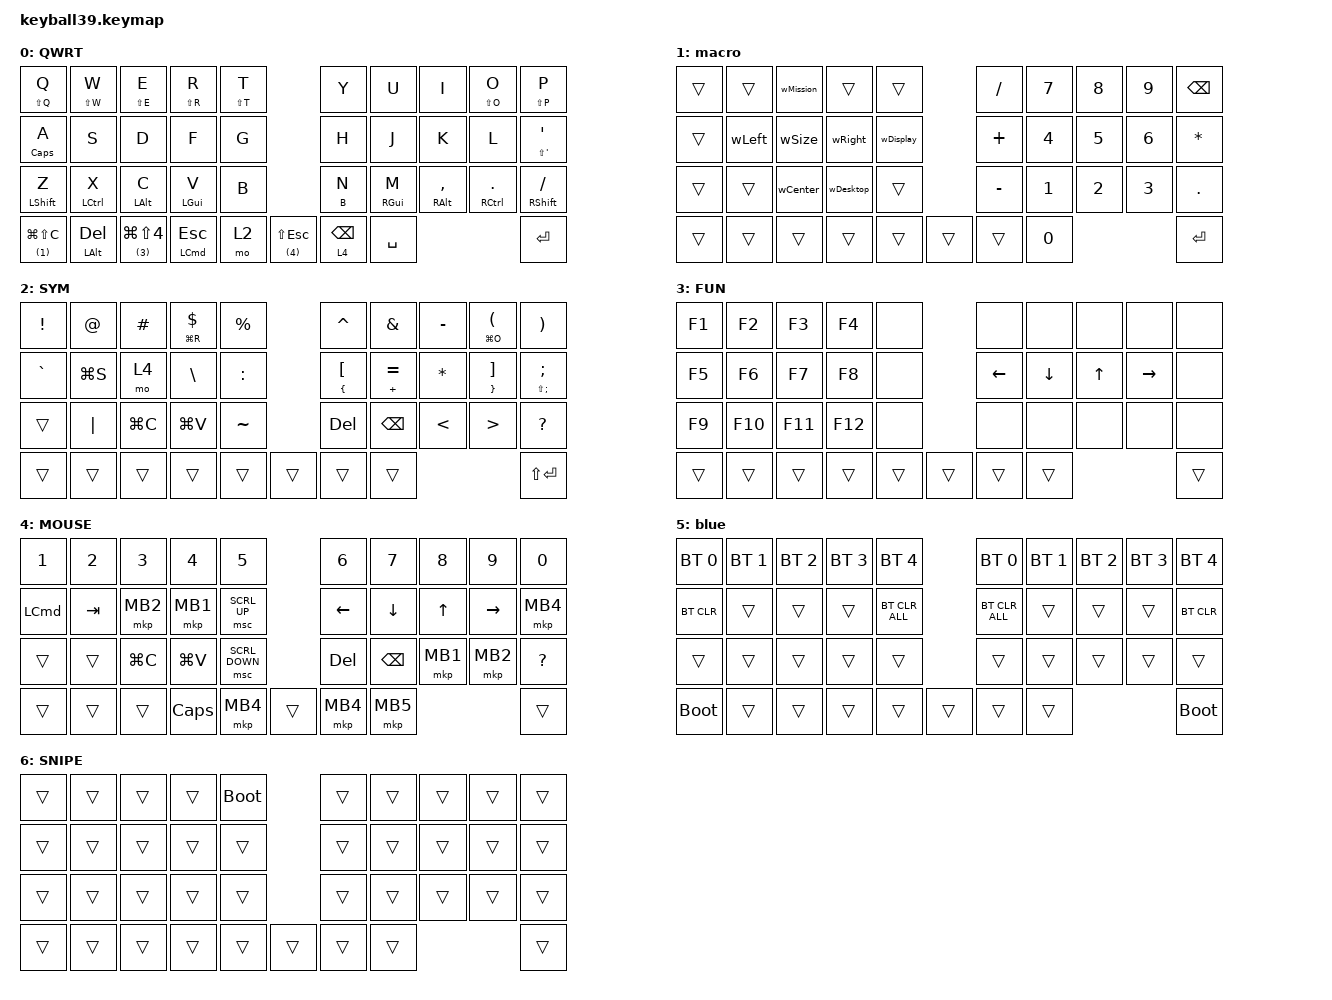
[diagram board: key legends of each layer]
#define DEFAULT 0
#define NUM     1
#define SYM     2
#define FUN     3
#define MOUSE   4
#define SCROLL  5
#define SNIPE   6

#include <behaviors/mouse_keys.dtsi>
#include <dt-bindings/zmk/mouse.h>
#include <behaviors.dtsi>
#include <dt-bindings/zmk/bt.h>
#include <dt-bindings/zmk/keys.h>
#include <dt-bindings/zmk/pointing.h>

&lt {
    tapping-term-ms = <200>;
    flavor = "tap-preferred";
    quick-tap-ms = <150>;
    require-prior-idle-ms = <150>;
};

&mt {
    tapping-term-ms = <175>;
    flavor = "tap-preferred";
    require-prior-idle-ms = <150>;
};

/ {
    // custom shift using mod-morph 

    behaviors {
        cmqus: comma_question {
            compatible = "zmk,behavior-mod-morph";
            label = "COMMA_QUESTION";
            #binding-cells = <0>;
            bindings = <&kp COMMA>, <&kp QUESTION>;

            mods = <(MOD_LSFT|MOD_RSFT)>;
        };

        dtsmi: dot_semi {
            compatible = "zmk,behavior-mod-morph";
            label = "DOT_SEMI";
            #binding-cells = <0>;
            bindings = <&kp DOT>, <&kp SEMI>;

            mods = <(MOD_LSFT|MOD_RSFT)>;
        };

        hmLeft: hmLeft {
            compatible = "zmk,behavior-hold-tap";
            label = "HMLEFT";
            bindings = <&kp>, <&kp>;

            #binding-cells = <2>;
            tapping-term-ms = <200>;
            quick-tap-ms = <150>;
            require-prior-idle-ms = <150>;
            flavor = "tap-preferred";
            hold-trigger-key-positions = <5 6 7 8 9 15 16 17 18 19 25 26 27 28 29 36 37 38>;
        };

        hmRight: hmRight {
            compatible = "zmk,behavior-hold-tap";
            label = "HMRIGHT";
            bindings = <&kp>, <&kp>;

            #binding-cells = <2>;
            tapping-term-ms = <200>;
            quick-tap-ms = <150>;
            require-prior-idle-ms = <150>;
            flavor = "tap-preferred";
            hold-trigger-key-positions = <0 1 2 3 4 10 11 12 13 14 20 21 22 23 24 30 31 32 33 34 35>;
        };

        // auto shift: 짧게 누르면 기본 자모, 길게 누르면 Shift 조합(쌍자음 ㅃㅉㄸㄲㅆ, 모음 ㅒㅖ)

        as: auto_shift {
            compatible = "zmk,behavior-hold-tap";
            label = "AUTO_SHIFT";
            bindings = <&kp>, <&kp>;

            #binding-cells = <2>;
            tapping-term-ms = <200>;
            flavor = "tap-preferred";
            quick-tap-ms = <150>;
            require-prior-idle-ms = <150>;
        };

        // 조합키 전용 hold-tap: 홀드 시 매크로로 한 번만 tap (auto-repeat 없음)

        mts: mt_shot {
            compatible = "zmk,behavior-hold-tap";
            label = "MT_SHOT";
            bindings = <&shot>, <&kp>;

            #binding-cells = <2>;
            tapping-term-ms = <175>;
            flavor = "tap-preferred";
        };
    };

    macros {
        Hiragana: Hiragana {
            compatible = "zmk,behavior-macro";
            #binding-cells = <0>;
            bindings = <&kp LC(SPACE)>;
            label = "HIRAGANA";
        };

        // 파라미터로 받은 키코드를 한 번만 tap (auto-repeat 방지용)

        shot: shot {
            compatible = "zmk,behavior-macro-one-param";
            #binding-cells = <1>;
            bindings = <&macro_param_1to1 &kp MACRO_PLACEHOLDER>;
            label = "SHOT";
        };

        // 윈도우 관리 단축키 — 홀드해도 1회만 전송 (auto-repeat 없음)

        wAlmostMax: window_almost_maximize {
            compatible = "zmk,behavior-macro";
            #binding-cells = <0>;
            bindings = <&kp LA(LS(O))>;
            label = "W_ALMOST_MAX";
        };

        wCenter: window_center {
            compatible = "zmk,behavior-macro";
            #binding-cells = <0>;
            bindings = <&kp LA(C)>;
            label = "W_CENTER";
        };

        wLeft: window_left_half {
            compatible = "zmk,behavior-macro";
            #binding-cells = <0>;
            bindings = <&kp LA(LEFT)>;
            label = "W_LEFT_HALF";
        };

        wRight: window_right_half {
            compatible = "zmk,behavior-macro";
            #binding-cells = <0>;
            bindings = <&kp LA(RIGHT)>;
            label = "W_RIGHT_HALF";
        };

        wSize: window_reasonable_size {
            compatible = "zmk,behavior-macro";
            #binding-cells = <0>;
            bindings = <&kp LA(O)>;
            label = "W_REASONABLE_SIZE";
        };

        wDesktop: window_next_desktop {
            compatible = "zmk,behavior-macro";
            #binding-cells = <0>;
            bindings = <&kp LC(LS(TAB))>;
            label = "W_NEXT_DESKTOP";
        };

        wDisplay: window_next_display {
            compatible = "zmk,behavior-macro";
            #binding-cells = <0>;
            bindings = <&kp LC(LA(TAB))>;
            label = "W_NEXT_DISPLAY";
        };

        wMission: window_mission_control {
            compatible = "zmk,behavior-macro";
            #binding-cells = <0>;
            bindings = <&kp LC(UP)>;
            label = "W_MISSION_CONTROL";
        };
    };

    combos {
        compatible = "zmk,combos";

        cb_enter {
            bindings = <&kp ENTER>;
            key-positions = <17 18>;
        };

        cb_bt_layer {
            bindings = <&mo 5>;
            key-positions = <36 37>;
            require-prior-idle-ms = <150>;
            layers = <0>;
        };

        cb_esc {
            bindings = <&kp ESCAPE>;
            key-positions = <0 1>;
        };

        cb_backspace {
            bindings = <&kp BACKSPACE>;
            key-positions = <8 9>;
        };

        cb_tab {
            bindings = <&kp TAB>;
            key-positions = <10 11>;
        };
    };

    keymap {
        compatible = "zmk,keymap";

        default_layer {
            label = "QWRT";
            bindings = <
&as LS(Q) Q        &as LS(W) W          &as LS(E) E         &as LS(R) R           &as LS(T) T                                       &kp Y      &kp U            &kp I                &as LS(O) O         &as LS(P) P
&mt CAPS A         &kp S                &kp D               &kp F                 &kp G                                             &kp H      &kp J            &kp K                &kp L               &as LS(SINGLE_QUOTE) SINGLE_QUOTE
&hmLeft LSHFT Z    &hmLeft LCTRL X      &hmLeft LALT C      &hmLeft LGUI V        &kp B                                             &mts B N   &hmRight RGUI M  &hmRight RALT COMMA  &hmRight RCTRL DOT  &hmRight RSHFT SLASH
&lt (1) LG(LS(C))  &mt LEFT_ALT DELETE  &lt (3) LG(LS(N4))  &mt LEFT_COMMAND ESC  &mo 2        &lt (4) LS(ESCAPE)  &lt 4 BACKSPACE  &kp SPACE                                                            &kp ENTER
            >;
        };

        macro {
            label = "macro";
            bindings = <
&trans  &trans  &wMission  &trans     &trans                     &kp SLASH     &kp NUMBER_7  &kp NUMBER_8  &kp NUMBER_9  &kp BACKSPACE
&trans  &wLeft  &wSize     &wRight    &wDisplay                  &kp PLUS      &kp NUMBER_4  &kp NUMBER_5  &kp NUMBER_6  &kp ASTERISK
&trans  &trans  &wCenter   &wDesktop  &trans                     &kp MINUS     &kp NUMBER_1  &kp NUMBER_2  &kp NUMBER_3  &kp PERIOD
&trans  &trans  &trans     &trans     &trans     &trans  &trans  &kp NUMBER_0                                            &kp ENTER
            >;
        };

        symbol_layer {
            label = "SYM";
            bindings = <
&kp EXCLAMATION  &kp AT_SIGN  &kp HASH   &mts LG(R) DOLLAR  &kp PERCENT                  &kp CARET                    &kp AMPERSAND   &kp MINUS      &mts LG(O) LEFT_PARENTHESIS    &kp RIGHT_PARENTHESIS
&kp GRAVE        &kp LG(S)    &mo 4      &kp BACKSLASH      &kp COLON                    &as LEFT_BRACE LEFT_BRACKET  &as PLUS EQUAL  &kp ASTERISK   &as RIGHT_BRACE RIGHT_BRACKET  &as LS(SEMICOLON) SEMICOLON
&trans           &kp PIPE     &kp LG(C)  &kp LG(V)          &kp TILDE                    &kp DEL                      &kp BACKSPACE   &kp LESS_THAN  &kp GREATER_THAN               &kp QUESTION
&trans           &trans       &trans     &trans             &trans       &trans  &trans  &trans                                                                                     &kp LS(ENTER)
            >;
        };

        function_layer {
            label = "FUN";
            bindings = <
&kp F1  &kp F2   &kp F3   &kp F4   &none                   &none     &none     &none   &none      &none
&kp F5  &kp F6   &kp F7   &kp F8   &none                   &kp LEFT  &kp DOWN  &kp UP  &kp RIGHT  &none
&kp F9  &kp F10  &kp F11  &kp F12  &none                   &none     &none     &none   &none      &none
&trans  &trans   &trans   &trans   &trans  &trans  &trans  &trans                                 &trans
            >;
        };

        mouse_layer {
            label = "MOUSE";
            bindings = <
&kp NUMBER_1      &kp NUMBER_2  &kp NUMBER_3  &kp NUMBER_4  &kp NUMBER_5                      &kp NUMBER_6    &kp NUMBER_7   &kp NUMBER_8  &kp NUMBER_9  &kp NUMBER_0
&kp LEFT_COMMAND  &kp TAB       &mkp MB2      &mkp MB1      &msc SCRL_UP                      &kp LEFT_ARROW  &kp DOWN       &kp UP        &kp RIGHT     &mkp MB4
&trans            &trans        &kp LG(C)     &kp LG(V)     &msc SCRL_DOWN                    &kp DELETE      &kp BACKSPACE  &mkp MB1      &mkp MB2      &kp QUESTION
&trans            &trans        &trans        &kp CAPS      &mkp MB4        &trans  &mkp MB4  &mkp MB5                                                   &trans
            >;
        };

        bluetooth {
            label = "blue";
            bindings = <
&bt BT_SEL 0  &bt BT_SEL 1  &bt BT_SEL 2  &bt BT_SEL 3  &bt BT_SEL 4                    &bt BT_SEL 0    &bt BT_SEL 1  &bt BT_SEL 2  &bt BT_SEL 3  &bt BT_SEL 4
&bt BT_CLR    &trans        &trans        &trans        &bt BT_CLR_ALL                  &bt BT_CLR_ALL  &trans        &trans        &trans        &bt BT_CLR
&trans        &trans        &trans        &trans        &trans                          &trans          &trans        &trans        &trans        &trans
&bootloader   &trans        &trans        &trans        &trans          &trans  &trans  &trans                                                    &bootloader
            >;
        };

        snipe_layer {
            label = "SNIPE";
            bindings = <
&trans  &trans  &trans  &trans  &bootloader                  &trans  &trans  &trans  &trans  &trans
&trans  &trans  &trans  &trans  &trans                       &trans  &trans  &trans  &trans  &trans
&trans  &trans  &trans  &trans  &trans                       &trans  &trans  &trans  &trans  &trans
&trans  &trans  &trans  &trans  &trans       &trans  &trans  &trans                          &trans
            >;
        };
    };
};
